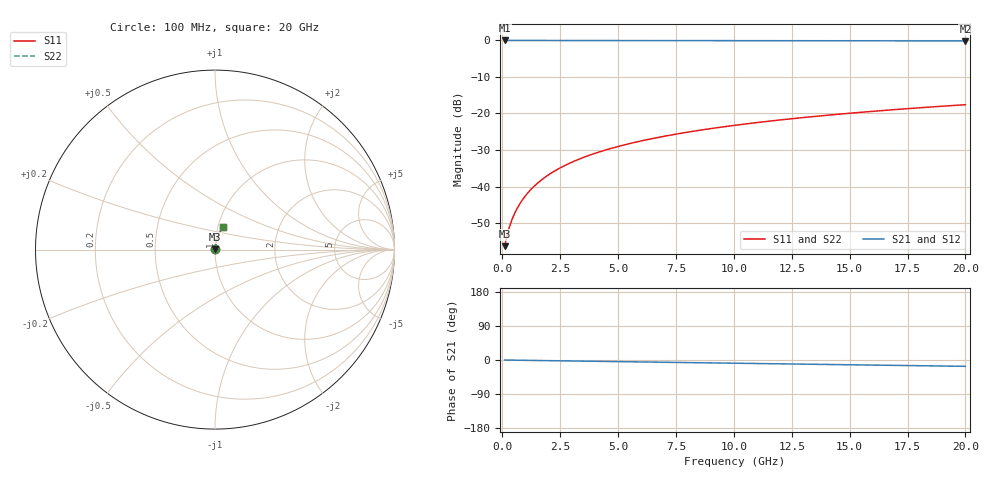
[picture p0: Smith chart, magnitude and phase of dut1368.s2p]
! Touchstone file exported from HFSS 2026.1.0
!  File:  C:/ffzhzh/LocalFiles/Ansys_Project_Files/temp_train_TMRDL_1368_1783165822_55132.aedt
!  Generated:  07:51:35 PM Jul  4, 2026
!  Design:  TMRDL
!  Project:  temp_train_TMRDL_1368_1783165822_55132
! Variables:
!  h_bsmrdl = 2um
!  h_ox = 20um
!  h_rdl = 5um
!  h_sub = 80um
!  h_tmrdl = 4.03um
!  h_tsv = 80um
!  h_via = 3um
!  l_bsmrdl = 300um
!  l_sub = 644.02um
!  l_tmrdl = 244.02um
!  m_sub = 200um
!  pitch = 34.6um
!  r_tsv = 6um
!  s_tmrdl = 10um
!  w_bsmrdl = 18um
!  w_sub = 500um
!  w_tmrdl = 19.52um
!  x_tsv_center1 = 253.78um
!  x_tsv_center2 = 571.78um
!  x_tsv_center3 = 835.32um
!  x_tsv_center4 = 1153.32um
!  x_tsv_center5 = 1416.86um
!  x_tsv_center6 = 1734.86um
# GHz S MA R 50.000000
! Terminal data exported
! Port[1] = TM_RDL1_1_T1
! Port[2] = TM_RDL1_1_T2
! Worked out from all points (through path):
!   200 points, 100 MHz to 20 GHz, reference 50 ohm
!   highest |S21| = -0.01 dB at 100 MHz (marker M1); lowest = -0.1 dB at 20 GHz (marker M2)
!   group delay of S21, straight-line fit = 2.32 ps
!   lowest |S11| = -56.3 dB at 100 MHz (marker M3), VSWR 1.00, Z = 50.1 + j0.0825 ohm
!   |S11| at or under -10 dB: start of sweep to end of sweep
!   |S22| runs from -56.3 to -17.6 dB; largest |S21 - S12| = 4.3e-15
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0.1  0.001526 32.6  0.9987 -0.1  0.9987 -0.1  0.001526 32.6
! Gamma 0 0 0 0
! Port Impedance 50 0 50 0
0.2  0.002102 49.6  0.9986 -0.2  0.9986 -0.2  0.002102 49.6
0.3  0.002746 58.4  0.9986 -0.3  0.9986 -0.3  0.002746 58.4
0.4  0.003402 63.7  0.9985 -0.4  0.9985 -0.4  0.003402 63.7
0.5  0.004065 67.4  0.9985 -0.4  0.9985 -0.4  0.004065 67.4
0.6  0.004735 70.2  0.9984 -0.5  0.9984 -0.5  0.004735 70.2
0.8  0.006094 73.9  0.9984 -0.7  0.9984 -0.7  0.006094 73.9
1.1  0.008168 77.2  0.9983 -1.0  0.9983 -1.0  0.008168 77.2
1.3  0.009565 78.6  0.9982 -1.1  0.9982 -1.1  0.009565 78.6
1.6  0.01167 79.9  0.9982 -1.4  0.9982 -1.4  0.01167 79.9
2.1  0.01519 81.1  0.998 -1.8  0.998 -1.8  0.01519 81.1
2.7  0.0194 81.7  0.9978 -2.3  0.9978 -2.3  0.0194 81.7
3.5  0.02499 81.8  0.9974 -3.0  0.9974 -3.0  0.02499 81.8
4.2  0.02983 81.6  0.9971 -3.6  0.9971 -3.6  0.02983 81.6
5  0.03532 81.3  0.9966 -4.3  0.9966 -4.3  0.03532 81.3
5.9  0.04143 80.7  0.9961 -5.1  0.9961 -5.1  0.04143 80.7
6.8  0.04748 80.2  0.9956 -5.8  0.9956 -5.8  0.04748 80.2
8.3  0.05745 79.2  0.9946 -7.1  0.9946 -7.1  0.05745 79.2
10.1  0.06926 77.9  0.9934 -8.6  0.9934 -8.6  0.06926 77.9
13.4  0.09056 75.5  0.9909 -11.3  0.9909 -11.3  0.09056 75.5
16.7  0.1115 73.1  0.9882 -14.0  0.9882 -14.0  0.1115 73.1
20  0.1319 70.6  0.9852 -16.7  0.9852 -16.7  0.1319 70.6
